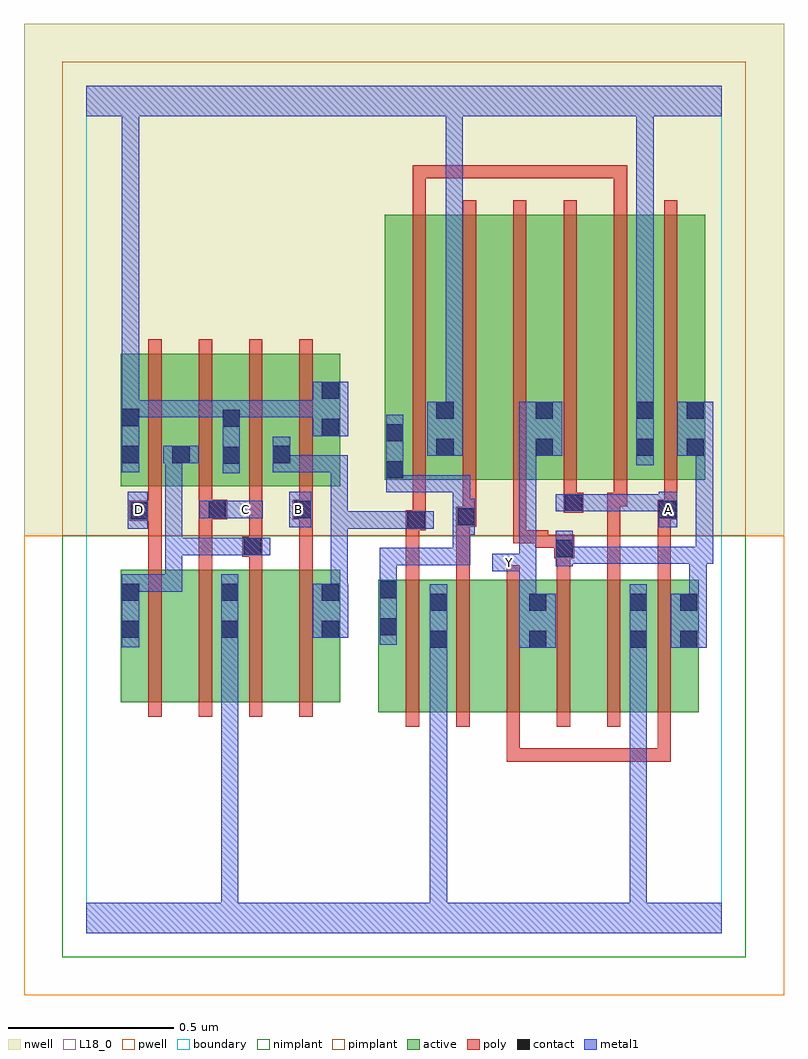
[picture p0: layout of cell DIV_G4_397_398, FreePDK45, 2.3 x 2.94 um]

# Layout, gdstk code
import gdstk
lib = gdstk.Library(unit=1e-6, precision=1e-09)
def R(c, l, rs):  # rectangles x0, y0, x1, y1
    for r in rs: c.add(gdstk.rectangle(r[:2], r[2:], *l))
def A(c, l, x, y, w, h, nx, ny, dx, dy):  # array of equal rectangles
    R(c, l, [(x+i*dx, y+j*dy, x+i*dx+w, y+j*dy+h) for i in range(nx) for j in range(ny)])
active = (1, 0)
pwell = (2, 0)
nwell = (3, 0)
nimplant = (4, 0)
pimplant = (5, 0)
poly = (9, 0)
contact = (10, 0)
metal1 = (11, 0)
L18_0 = (18, 0)
boundary = (235, 0)

div_g4_397_398 = lib.new_cell('DIV_G4_397_398')
A(div_g4_397_398, active, 0.104, 1.35, 0.212, 0.4, 3, 1, 0.152, 0)
A(div_g4_397_398, active, 0.104, 1.35, 0.06, 0.294, 4, 1, 0.152, 0)
R(div_g4_397_398, active, [(0.882,0.668,1.094,1.068), (1.034,0.668,1.214,1.068), (1.214,0.668,1.394,1.068), (1.334,0.668,1.518,1.068), (1.518,0.668,1.698,1.068), (1.638,0.668,1.85,1.068), (0.104,0.698,0.284,1.098), (0.284,0.698,0.464,1.098), (0.404,0.698,0.588,1.098), (0.588,0.698,0.768,1.098), (0.104,0.756,0.164,1.098), (0.404,0.756,0.464,1.06), (0.708,0.756,0.768,1.098), (0.882,0.756,0.942,1.068), (1.034,0.756,1.094,1.068), (1.334,0.756,1.394,1.068), (1.638,0.756,1.698,1.068), (1.79,0.756,1.85,1.068), (0.56,1.35,0.768,1.75), (0.708,1.35,0.768,1.67), (0.902,1.37,0.962,2.044), (0.902,1.37,1.114,2.17), (1.054,1.37,1.114,2.044), (1.054,1.37,1.234,2.17), (1.234,1.37,1.414,2.17), (1.354,1.37,1.414,2.044), (1.354,1.37,1.538,2.17), (1.538,1.37,1.718,2.17), (1.658,1.37,1.718,2.044), (1.658,1.37,1.87,2.17), (1.81,1.37,1.87,2.044)])
R(div_g4_397_398, pwell, [(-0.188,-0.188,2.108,1.2)])
R(div_g4_397_398, nwell, [(-0.188,1.2,2.108,2.748)])
R(div_g4_397_398, nimplant, [(-0.072,-0.072,1.992,1.2)])
R(div_g4_397_398, pimplant, [(-0.072,1.2,1.992,2.632)])
A(div_g4_397_398, poly, 0.966, 0.624, 0.04, 0.488, 6, 1, 0.152, 0)
A(div_g4_397_398, poly, 0.188, 0.654, 0.04, 0.488, 4, 2, 0.152, 0.652)
A(div_g4_397_398, poly, 0.986, 1.326, 0.04, 0.888, 6, 1, 0.152, 0)
R(div_g4_397_398, poly, [(1.27,0.518,1.31,0.558), (1.27,0.518,1.31,0.558), (1.27,0.518,1.31,0.558), (1.27,0.518,1.31,0.664), (1.27,0.518,1.502,0.558), (1.462,0.518,1.502,0.558), (1.462,0.518,1.502,0.558), (1.462,0.518,1.502,0.558), (1.462,0.518,1.614,0.558), (1.574,0.518,1.614,0.558), (1.574,0.518,1.766,0.558), (1.726,0.518,1.766,0.558), (1.726,0.518,1.766,0.558), (1.726,0.518,1.766,0.558), (1.726,0.518,1.766,0.664), (0.966,1.072,1.006,1.258), (1.118,1.072,1.158,1.268), (1.422,1.072,1.462,1.172), (1.574,1.072,1.614,1.33), (1.726,1.072,1.766,1.29), (0.188,1.102,0.228,1.286), (0.34,1.102,0.38,1.29), (0.492,1.102,0.532,1.178), (0.644,1.102,0.684,1.29), (1.414,1.132,1.474,1.204), (0.472,1.138,0.532,1.198), (0.492,1.158,0.532,1.198), (0.492,1.158,0.532,1.198), (0.492,1.158,0.532,1.346), (1.356,1.164,1.454,1.204), (1.356,1.164,1.396,1.218), (1.29,1.178,1.33,1.218), (1.29,1.178,1.33,1.218), (1.29,1.178,1.33,1.218), (1.29,1.178,1.396,1.218), (1.29,1.178,1.33,1.366), (0.966,1.218,1.006,1.258), (0.966,1.218,1.006,1.258), (0.966,1.218,1.026,1.278), (1.118,1.228,1.158,1.268), (1.118,1.228,1.158,1.268), (1.118,1.228,1.178,1.288), (0.986,1.238,1.026,1.366), (0.13,1.246,0.228,1.306), (1.138,1.248,1.178,1.366), (0.34,1.25,0.38,1.29), (0.34,1.25,0.38,1.29), (0.34,1.25,0.426,1.31), (0.624,1.25,0.684,1.31), (1.726,1.25,1.766,1.29), (1.726,1.25,1.766,1.29), (1.726,1.25,1.786,1.31), (0.188,1.266,0.228,1.306), (0.188,1.266,0.228,1.306), (0.188,1.266,0.228,1.346), (0.34,1.27,0.38,1.346), (0.644,1.27,0.684,1.31), (0.644,1.27,0.684,1.31), (0.644,1.27,0.684,1.346), (1.442,1.27,1.502,1.33), (1.746,1.27,1.786,1.366), (1.442,1.29,1.482,1.366), (1.574,1.29,1.634,1.33), (1.594,1.29,1.634,1.33), (1.594,1.29,1.634,1.33), (1.594,1.29,1.634,1.366), (0.986,2.174,1.026,2.32), (1.594,2.174,1.634,2.32), (0.986,2.28,1.026,2.32), (0.986,2.28,1.026,2.32), (0.986,2.28,1.026,2.32), (0.986,2.28,1.132,2.32), (1.092,2.28,1.132,2.32), (1.092,2.28,1.132,2.32), (1.092,2.28,1.132,2.32), (1.092,2.28,1.348,2.32), (1.308,2.28,1.348,2.32), (1.308,2.28,1.348,2.32), (1.308,2.28,1.348,2.32), (1.308,2.28,1.508,2.32), (1.468,2.28,1.508,2.32), (1.468,2.28,1.634,2.32), (1.594,2.28,1.634,2.32), (1.594,2.28,1.634,2.32), (1.594,2.28,1.634,2.32)])
R(div_g4_397_398, contact, [(1.038,0.862,1.09,0.914), (1.338,0.862,1.39,0.914), (1.642,0.862,1.694,0.914), (1.794,0.862,1.846,0.914), (0.108,0.892,0.16,0.944), (0.408,0.892,0.46,0.944), (0.712,0.892,0.764,0.944), (0.886,0.9,0.938,0.952), (1.038,0.974,1.09,1.026), (1.338,0.974,1.39,1.026), (1.642,0.974,1.694,1.026), (1.794,0.974,1.846,1.026), (0.108,1.004,0.16,1.056), (0.408,1.004,0.46,1.056), (0.712,1.004,0.764,1.056), (0.886,1.012,0.938,1.064), (1.418,1.136,1.47,1.188), (0.476,1.142,0.528,1.194), (0.97,1.222,1.022,1.274), (1.122,1.232,1.174,1.284), (0.134,1.25,0.186,1.302), (0.37,1.254,0.422,1.306), (0.628,1.254,0.68,1.306), (1.73,1.254,1.782,1.306), (1.446,1.274,1.498,1.326), (0.906,1.374,0.958,1.426), (0.412,1.418,0.464,1.47), (0.108,1.42,0.16,1.472), (0.26,1.42,0.312,1.472), (0.564,1.42,0.616,1.472), (1.058,1.442,1.11,1.494), (1.358,1.442,1.41,1.494), (1.662,1.442,1.714,1.494), (1.814,1.442,1.866,1.494), (0.906,1.486,0.958,1.538), (0.712,1.502,0.764,1.554), (0.412,1.53,0.464,1.582), (0.108,1.532,0.16,1.584), (1.058,1.554,1.11,1.606), (1.358,1.554,1.41,1.606), (1.662,1.554,1.714,1.606), (1.814,1.554,1.866,1.606), (0.712,1.614,0.764,1.666)])
R(div_g4_397_398, metal1, [(0,0,1.92,0.092), (0.408,0.04,0.46,0.092), (0.408,0.04,0.46,0.092), (0.408,0.04,0.46,0.092), (0.408,0.04,0.46,0.092), (0.408,0.04,0.46,0.092), (0.408,0.04,0.46,0.092), (0.408,0.04,0.46,0.092), (0.408,0.04,0.46,0.092), (0.408,0.04,0.46,0.092), (0.408,0.04,0.46,0.092), (0.408,0.04,0.46,0.916), (1.038,0.04,1.09,0.092), (1.038,0.04,1.09,0.092), (1.038,0.04,1.09,0.092), (1.038,0.04,1.09,0.092), (1.038,0.04,1.09,0.092), (1.038,0.04,1.09,0.092), (1.038,0.04,1.09,0.092), (1.038,0.04,1.09,0.092), (1.038,0.04,1.09,0.092), (1.038,0.04,1.09,0.092), (1.038,0.04,1.09,0.092), (1.038,0.04,1.09,0.092), (1.038,0.04,1.09,0.886), (1.642,0.04,1.694,0.092), (1.642,0.04,1.694,0.092), (1.642,0.04,1.694,0.092), (1.642,0.04,1.694,0.092), (1.642,0.04,1.694,0.886), (1.038,0.834,1.09,1.054), (1.642,0.834,1.694,0.886), (1.642,0.834,1.694,0.886), (1.642,0.834,1.694,0.886), (1.642,0.834,1.694,0.886), (1.642,0.834,1.694,0.886), (1.642,0.834,1.694,0.886), (1.642,0.834,1.694,0.886), (1.642,0.834,1.694,0.886), (1.642,0.834,1.694,1.054), (1.308,0.862,1.418,1.026), (1.766,0.862,1.874,1.026), (0.108,0.864,0.16,1.084), (0.408,0.864,0.46,0.916), (0.408,0.864,0.46,0.916), (0.408,0.864,0.46,1.084), (0.886,0.872,0.938,1.092), (0.684,0.892,0.792,1.056), (1.308,0.974,1.36,1.146), (1.822,0.974,1.874,1.168), (0.738,1.004,0.79,1.274), (0.108,1.032,0.16,1.084), (0.108,1.032,0.16,1.084), (0.108,1.032,0.29,1.084), (0.238,1.032,0.29,1.084), (0.238,1.032,0.29,1.194), (0.886,1.04,0.938,1.092), (0.886,1.04,0.938,1.164), (1.226,1.094,1.36,1.146), (1.308,1.094,1.36,1.494), (1.418,1.108,1.47,1.216), (0.886,1.112,1.16,1.164), (1.108,1.112,1.16,1.164), (1.108,1.112,1.16,1.164), (1.108,1.112,1.16,1.164), (1.108,1.112,1.16,1.256), (1.418,1.116,1.47,1.168), (1.418,1.116,1.47,1.168), (1.418,1.116,1.672,1.168), (1.62,1.116,1.672,1.168), (1.62,1.116,1.672,1.168), (1.62,1.116,1.672,1.168), (1.62,1.116,1.874,1.168), (1.822,1.116,1.874,1.168), (1.822,1.116,1.874,1.168), (1.822,1.116,1.894,1.168), (1.842,1.116,1.894,1.494), (1.842,1.116,1.894,1.168), (1.842,1.116,1.894,1.168), (0.238,1.142,0.29,1.194), (0.238,1.142,0.296,1.194), (0.238,1.142,0.29,1.472), (0.244,1.142,0.296,1.194), (0.244,1.142,0.5,1.194), (0.448,1.142,0.5,1.194), (0.448,1.142,0.5,1.194), (0.448,1.142,0.556,1.194), (1.108,1.204,1.16,1.256), (1.108,1.204,1.174,1.256), (1.108,1.204,1.16,1.384), (1.122,1.204,1.174,1.312), (0.126,1.222,0.186,1.334), (0.738,1.222,0.79,1.274), (0.738,1.222,0.79,1.274), (0.738,1.222,0.79,1.274), (0.738,1.222,0.79,1.274), (0.738,1.222,0.79,1.274), (0.738,1.222,0.994,1.274), (0.738,1.222,0.79,1.444), (0.942,1.222,1.05,1.274), (0.614,1.226,0.68,1.334), (1.73,1.226,1.786,1.334), (0.342,1.254,0.534,1.306), (1.418,1.274,1.526,1.326), (1.474,1.274,1.526,1.326), (1.474,1.274,1.526,1.326), (1.474,1.274,1.636,1.326), (1.584,1.274,1.636,1.326), (1.584,1.274,1.636,1.326), (1.584,1.274,1.636,1.326), (1.584,1.274,1.782,1.326), (0.906,1.332,1.16,1.384), (0.906,1.332,0.958,1.398), (1.108,1.332,1.16,1.384), (0.906,1.346,0.958,1.398), (0.906,1.346,0.958,1.566), (0.412,1.39,0.464,1.61), (0.108,1.392,0.16,1.612), (0.564,1.392,0.616,1.444), (0.564,1.392,0.616,1.444), (0.564,1.392,0.616,1.5), (0.564,1.392,0.79,1.444), (0.738,1.392,0.79,1.444), (1.662,1.414,1.714,1.634), (0.232,1.42,0.34,1.472), (0.238,1.42,0.29,1.472), (0.238,1.42,0.29,1.472), (1.03,1.442,1.138,1.606), (1.308,1.442,1.36,1.494), (1.308,1.442,1.36,1.494), (1.308,1.442,1.438,1.606), (1.786,1.442,1.894,1.606), (0.684,1.502,0.792,1.666), (1.086,1.554,1.138,1.606), (1.086,1.554,1.138,1.606), (1.086,1.554,1.138,1.606), (1.086,1.554,1.138,1.606), (1.086,1.554,1.138,2.52), (0.108,1.558,0.16,1.61), (0.108,1.558,0.16,1.61), (0.108,1.558,0.296,1.61), (0.244,1.558,0.296,1.61), (0.244,1.558,0.296,1.61), (0.244,1.558,0.296,1.61), (0.244,1.558,0.464,1.61), (0.412,1.558,0.464,1.61), (0.412,1.558,0.464,1.61), (0.412,1.558,0.61,1.61), (0.558,1.558,0.61,1.61), (0.558,1.558,0.61,1.61), (0.558,1.558,0.61,1.61), (0.558,1.558,0.736,1.61), (0.108,1.56,0.16,1.612), (0.108,1.56,0.16,1.612), (0.108,1.56,0.16,1.612), (0.108,1.56,0.16,1.612), (0.108,1.56,0.16,2.52), (1.662,1.582,1.714,1.634), (1.662,1.582,1.714,1.634), (1.662,1.582,1.714,2.52), (0,2.468,1.92,2.56), (0.108,2.468,0.16,2.52), (0.108,2.468,0.16,2.52), (0.108,2.468,0.16,2.52), (0.108,2.468,0.16,2.52), (0.108,2.468,0.16,2.52), (0.108,2.468,0.16,2.52), (0.108,2.468,0.16,2.52), (0.108,2.468,0.16,2.52), (0.108,2.468,0.16,2.52), (0.108,2.468,0.16,2.52), (0.108,2.468,0.16,2.52), (0.108,2.468,0.16,2.52), (1.086,2.468,1.138,2.52), (1.086,2.468,1.138,2.52), (1.086,2.468,1.138,2.52), (1.086,2.468,1.138,2.52), (1.662,2.468,1.714,2.52), (1.662,2.468,1.714,2.52), (1.662,2.468,1.714,2.52), (1.662,2.468,1.714,2.52), (1.662,2.468,1.714,2.52), (1.662,2.468,1.714,2.52)])
R(div_g4_397_398, L18_0, [(0,0,1.92,0.092), (0.408,0.04,0.46,0.092), (0.408,0.04,0.46,0.092), (0.408,0.04,0.46,0.092), (0.408,0.04,0.46,0.092), (0.408,0.04,0.46,0.092), (0.408,0.04,0.46,0.092), (0.408,0.04,0.46,0.092), (0.408,0.04,0.46,0.092), (0.408,0.04,0.46,0.092), (0.408,0.04,0.46,0.092), (0.408,0.04,0.46,0.916), (1.038,0.04,1.09,0.092), (1.038,0.04,1.09,0.092), (1.038,0.04,1.09,0.092), (1.038,0.04,1.09,0.092), (1.038,0.04,1.09,0.092), (1.038,0.04,1.09,0.092), (1.038,0.04,1.09,0.092), (1.038,0.04,1.09,0.092), (1.038,0.04,1.09,0.092), (1.038,0.04,1.09,0.092), (1.038,0.04,1.09,0.092), (1.038,0.04,1.09,0.092), (1.038,0.04,1.09,0.886), (1.642,0.04,1.694,0.092), (1.642,0.04,1.694,0.092), (1.642,0.04,1.694,0.092), (1.642,0.04,1.694,0.092), (1.642,0.04,1.694,0.886), (1.038,0.834,1.09,1.054), (1.642,0.834,1.694,1.054), (1.642,0.834,1.694,0.886), (1.642,0.834,1.694,0.886), (1.642,0.834,1.694,0.886), (1.642,0.834,1.694,0.886), (1.642,0.834,1.694,0.886), (1.642,0.834,1.694,0.886), (1.642,0.834,1.694,0.886), (1.642,0.834,1.694,0.886), (1.308,0.862,1.418,1.026), (0.408,0.864,0.46,1.084), (0.408,0.864,0.46,0.916), (0.408,0.864,0.46,0.916), (1.308,0.974,1.36,1.146), (1.226,1.094,1.36,1.146), (1.254,1.094,1.306,1.146), (1.308,1.094,1.36,1.494), (0.126,1.222,0.186,1.334), (0.614,1.226,0.68,1.334), (1.73,1.226,1.786,1.334), (0.134,1.254,0.186,1.306), (0.342,1.254,0.534,1.306), (0.454,1.254,0.506,1.306), (0.614,1.254,0.666,1.306), (1.734,1.254,1.786,1.306), (1.418,1.274,1.526,1.326), (1.474,1.274,1.526,1.326), (1.474,1.274,1.526,1.326), (1.474,1.274,1.636,1.326), (1.584,1.274,1.636,1.326), (1.584,1.274,1.636,1.326), (1.584,1.274,1.636,1.326), (1.584,1.274,1.782,1.326), (0.412,1.39,0.464,1.61), (0.108,1.392,0.16,1.612), (1.662,1.414,1.714,1.634), (1.03,1.442,1.138,1.606), (1.308,1.442,1.36,1.494), (1.308,1.442,1.36,1.494), (1.308,1.442,1.438,1.606), (0.684,1.502,0.792,1.666), (1.086,1.554,1.138,1.606), (1.086,1.554,1.138,1.606), (1.086,1.554,1.138,1.606), (1.086,1.554,1.138,1.606), (1.086,1.554,1.138,2.52), (0.108,1.558,0.16,1.61), (0.108,1.558,0.16,1.61), (0.108,1.558,0.296,1.61), (0.244,1.558,0.296,1.61), (0.244,1.558,0.296,1.61), (0.244,1.558,0.296,1.61), (0.244,1.558,0.464,1.61), (0.412,1.558,0.464,1.61), (0.412,1.558,0.464,1.61), (0.412,1.558,0.61,1.61), (0.558,1.558,0.61,1.61), (0.558,1.558,0.61,1.61), (0.558,1.558,0.61,1.61), (0.558,1.558,0.736,1.61), (0.108,1.56,0.16,1.612), (0.108,1.56,0.16,1.612), (0.108,1.56,0.16,1.612), (0.108,1.56,0.16,1.612), (0.108,1.56,0.16,2.52), (1.662,1.582,1.714,1.634), (1.662,1.582,1.714,1.634), (1.662,1.582,1.714,2.52), (0,2.468,1.92,2.56), (0.108,2.468,0.16,2.52), (0.108,2.468,0.16,2.52), (0.108,2.468,0.16,2.52), (0.108,2.468,0.16,2.52), (0.108,2.468,0.16,2.52), (0.108,2.468,0.16,2.52), (0.108,2.468,0.16,2.52), (0.108,2.468,0.16,2.52), (0.108,2.468,0.16,2.52), (0.108,2.468,0.16,2.52), (0.108,2.468,0.16,2.52), (0.108,2.468,0.16,2.52), (1.086,2.468,1.138,2.52), (1.086,2.468,1.138,2.52), (1.086,2.468,1.138,2.52), (1.086,2.468,1.138,2.52), (1.662,2.468,1.714,2.52), (1.662,2.468,1.714,2.52), (1.662,2.468,1.714,2.52), (1.662,2.468,1.714,2.52), (1.662,2.468,1.714,2.52), (1.662,2.468,1.714,2.52)])
R(div_g4_397_398, boundary, [(0,0,1.92,2.56)])
div_g4_397_398.add(gdstk.Label('A', (1.76,1.28), layer=11, texttype=0))
div_g4_397_398.add(gdstk.Label('B', (0.64,1.28), layer=11, texttype=0))
div_g4_397_398.add(gdstk.Label('C', (0.48,1.28), layer=11, texttype=0))
div_g4_397_398.add(gdstk.Label('D', (0.16,1.28), layer=11, texttype=0))
div_g4_397_398.add(gdstk.Label('Y', (1.28,1.12), layer=11, texttype=0))

lib.write_gds('DIV_G4_397_398.gds')
